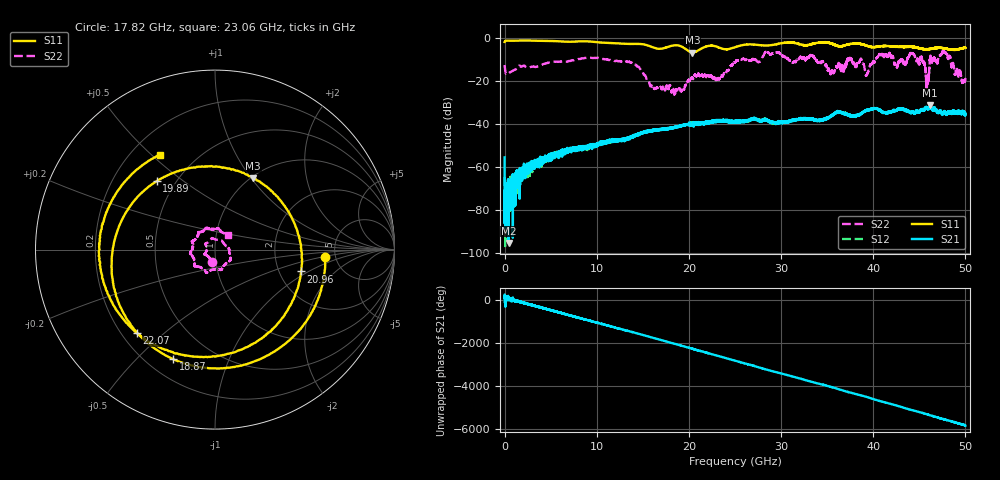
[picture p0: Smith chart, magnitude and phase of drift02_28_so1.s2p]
!Created with skrf (http://scikit-rf.org).
# Hz S RI R 50.0
!freq ReS11 ImS11 ReS21 ImS21 ReS12 ImS12 ReS22 ImS22
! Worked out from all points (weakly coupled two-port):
!   10001 points, 300 kHz to 50 GHz, reference 50 ohm
!   highest |S21| = -31.52 dB at 46.19 GHz (marker M1); lowest = -95.5 dB at 430.3 MHz (marker M2)
!   lowest |S11| = -6.9 dB at 20.38 GHz (marker M3), VSWR 2.63, Z = 51.4 + j51 ohm
!   |S11| at or under -10 dB: nowhere
!   |S22| runs from -26.7 to -6.3 dB; largest |S21 - S12| = 0.0032
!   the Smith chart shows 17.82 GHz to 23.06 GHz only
!   S11 on the Smith chart (normalised r, x): 17.82 GHz: 4.14, -0.55; 18.87 GHz: 0.30, -0.65; 19.89 GHz: 0.39, +0.40; 20.96 GHz: 2.64, -0.85; 22.07 GHz: 0.26, -0.41; 23.06 GHz: 0.31, +0.53
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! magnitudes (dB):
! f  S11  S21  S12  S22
! 300 kHz  -2.1  -55.7  -64.9  -12.8
! 430.3 MHz  -1.4  -95.5  -75.7  -16.6
! 2.895 GHz  -1.4  -62.0  -61.0  -13.6
! 8.335 GHz  -1.7  -52.3  -51.0  -9.7
! 13.7 GHz  -2.9  -46.5  -46.6  -11.7
! 16.67 GHz  -5.2  -42.8  -42.8  -23.5
! 17.82 GHz  -4.2  -42.2  -42.3  -23.4
! 18.87 GHz  -3.7  -41.5  -41.5  -24.4
! 19.89 GHz  -6.0  -40.5  -40.4  -20.1
! 20.38 GHz  -6.9  -40.4  -39.7  -18.9
! 20.96 GHz  -6.1  -39.9  -40.0  -16.8
! 22.07 GHz  -3.9  -39.3  -39.4  -17.5
! 23.06 GHz  -4.3  -39.0  -38.8  -19.2
! 25 GHz  -4.5  -38.7  -39.0  -11.5
! 33.34 GHz  -3.0  -37.8  -37.9  -8.4
! 39.32 GHz  -3.8  -33.7  -33.8  -17.1
! 41.67 GHz  -4.0  -34.4  -34.8  -7.8
! 44.26 GHz  -4.3  -34.4  -34.7  -7.3
! 45.85 GHz  -5.4  -33.0  -32.7  -19.2
! 46.19 GHz  -5.3  -31.5  -31.6  -9.2
! 47.76 GHz  -5.1  -34.3  -34.8  -6.7
! 50 GHz  -4.8  -35.4  -35.4  -19.5
